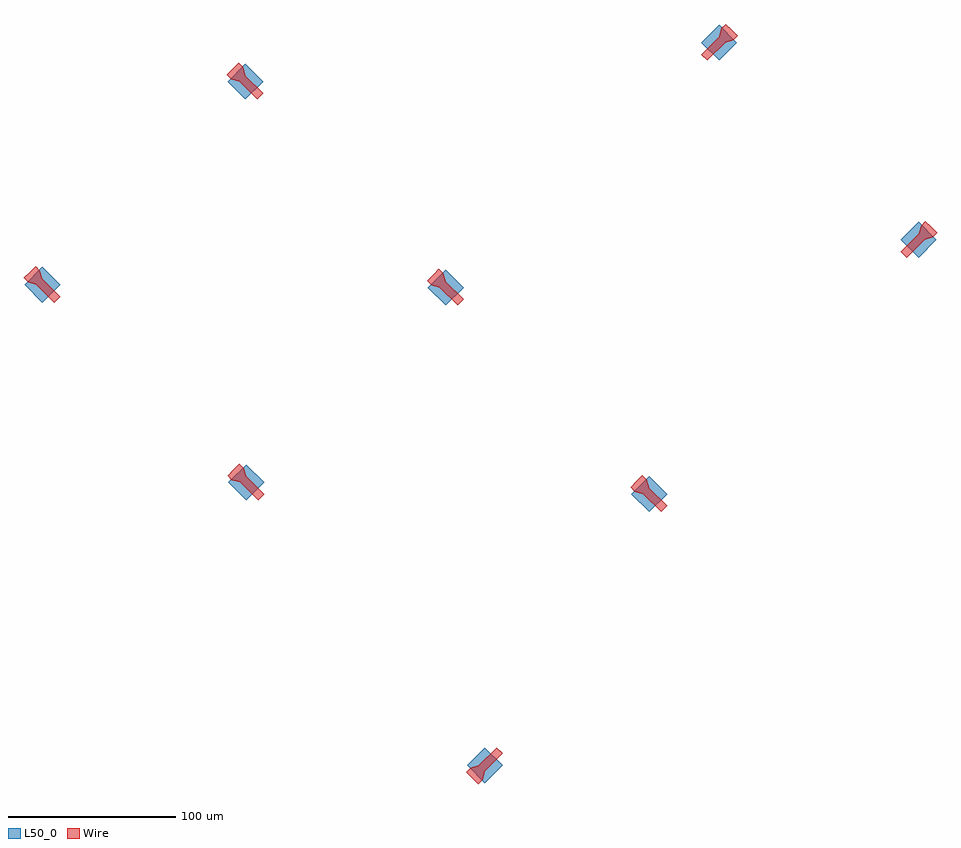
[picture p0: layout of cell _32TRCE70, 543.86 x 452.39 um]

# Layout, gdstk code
from math import pi, radians
import gdstk
lib = gdstk.Library(unit=1e-6, precision=1e-09)
def R(c, l, rs):  # rectangles x0, y0, x1, y1
    for r in rs: c.add(gdstk.rectangle(r[:2], r[2:], *l))
def P(c, l, *ps):  # polygons
    for p in ps: c.add(gdstk.Polygon(p, *l))
Wire = (8, 0)
L50_0 = (50, 0)

c__32conn_btm = lib.new_cell('_32CONN_BTM')

c__32prbe_top = lib.new_cell('_32PRBE_TOP')
R(c__32prbe_top, Wire, [(8.223,-2.5,23.223,2.5)])
P(c__32prbe_top, Wire, [(0,-5),(0,0),(0,5),(3.75,5),(8.223,2.5),(8.223,-2.5),(3.75,-5)])
R(c__32prbe_top, L50_0, [(3.223,-7.5,18.223,7.5)])

c__32trce70 = lib.new_cell('_32TRCE70')
c__32trce70.add(gdstk.Reference(c__32conn_btm, (-180.312,300.52), rotation=radians(315)))
c__32trce70.add(gdstk.Reference(c__32conn_btm, (-60.104,420.729), rotation=radians(315)))
c__32trce70.add(gdstk.Reference(c__32conn_btm, (-60.104,300.52), rotation=radians(225), x_reflection=True))
c__32trce70.add(gdstk.Reference(c__32prbe_top, (-160.946,262.208), rotation=radians(315)))
c__32trce70.add(gdstk.Reference(c__32prbe_top, (-42.152,378.173), rotation=radians(315)))
c__32trce70.add(gdstk.Reference(c__32prbe_top, (-161.378,500.789), rotation=radians(315)))
c__32trce70.add(gdstk.Reference(c__32prbe_top, (78.939,255.293), rotation=radians(315), x_reflection=True))
c__32trce70.add(gdstk.Reference(c__32prbe_top, (254.5,406.666), rotation=radians(225), x_reflection=True))
c__32trce70.add(gdstk.Reference(c__32prbe_top, (135.706,523.961), rotation=radians(225), x_reflection=True))
c__32trce70.add(gdstk.Reference(c__32prbe_top, (-18.842,78.646), rotation=radians(45)))
c__32trce70.add(gdstk.Reference(c__32prbe_top, (-282.292,379.874), rotation=radians(315)))
c__32trce70.add(gdstk.Reference(c__32conn_btm, (60.104,180.312), rotation=radians(225), x_reflection=True))
c__32trce70.add(gdstk.Reference(c__32conn_btm, (60.104,420.729), rotation=radians(225), x_reflection=True))
c__32trce70.add(gdstk.Reference(c__32conn_btm, (180.312,300.52), rotation=radians(225), x_reflection=True))
c__32trce70.add(gdstk.Reference(c__32conn_btm, (60.104,300.52), rotation=radians(315)))

lib.write_gds('_32TRCE70.gds')
